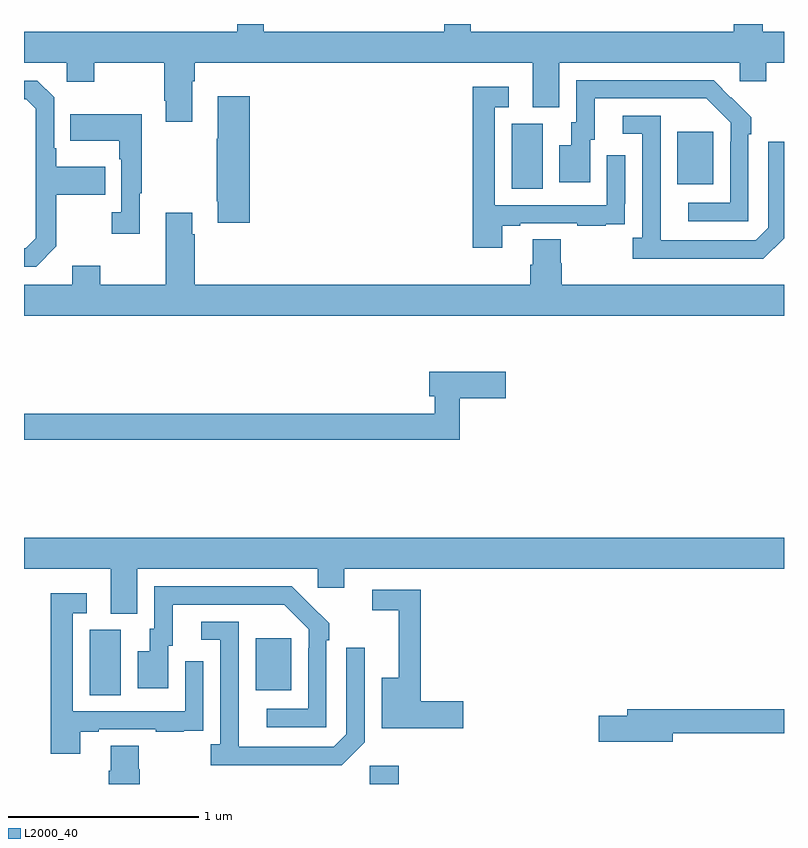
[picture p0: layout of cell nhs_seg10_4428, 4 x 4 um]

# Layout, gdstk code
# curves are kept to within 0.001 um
import gdstk
lib = gdstk.Library(unit=1e-6, precision=1e-09)
def R(c, l, rs):  # rectangles x0, y0, x1, y1
    for r in rs: c.add(gdstk.rectangle(r[:2], r[2:], *l))
def P(c, l, *ps):  # polygons
    for p in ps: c.add(gdstk.Polygon(p, *l))
L2000_40 = (2000, 40)

nhs_seg10_4428 = lib.new_cell('nhs_seg10_4428')
R(nhs_seg10_4428, L2000_40, [(362.82,1316.5,362.972,1316.596), (361.346,1316.968,361.51,1317.312), (362.219,1316.993,362.407,1317.268), (363.566,1319.632,363.73,1319.976), (364.439,1319.657,364.627,1319.932)])
P(nhs_seg10_4428, L2000_40, [(361.885,1320.2),(361.898,1320.2),(361.898,1320.296),(363.677,1320.296),(363.677,1320.061),(363.817,1320.061),(363.817,1320.296),(364.767,1320.296),(364.767,1320.198),(364.906,1320.198),(364.906,1320.296),(365,1320.296),(365,1320.46),(364.888,1320.46),(364.888,1320.5),(364.736,1320.5),(364.736,1320.46),(363.352,1320.46),(363.352,1320.5),(363.213,1320.5),(363.213,1320.46),(362.263,1320.46),(362.263,1320.5),(362.123,1320.5),(362.123,1320.46),(361,1320.46),(361,1320.296),(361.224,1320.296),(361.224,1320.197),(361.371,1320.197),(361.371,1320.296),(361.738,1320.296),(361.738,1320.097),(361.745,1320.097),(361.745,1319.985),(361.885,1319.985)],
  [(364.812,1319.921),(364.827,1319.921),(364.827,1320.009),(364.63,1320.204),(363.906,1320.204),(363.906,1319.982),(363.881,1319.982),(363.881,1319.863),(363.818,1319.863),(363.818,1319.667),(363.979,1319.667),(363.979,1319.892),(364.003,1319.892),(364.003,1320.108),(364.591,1320.108),(364.719,1319.979),(364.719,1319.879),(364.716,1319.879),(364.716,1319.559),(364.497,1319.559),(364.497,1319.463),(364.812,1319.463)],
  [(361.171,1319.329),(361.171,1319.602),(361.427,1319.602),(361.427,1319.749),(361.171,1319.749),(361.171,1319.845),(361.158,1319.845),(361.158,1320.114),(361.071,1320.201),(361,1320.201),(361,1320.105),(361.011,1320.105),(361.062,1320.054),(361.062,1319.373),(361.008,1319.319),(361,1319.319),(361,1319.223),(361.065,1319.223)],
  [(363.517,1319.439),(363.613,1319.439),(363.613,1319.451),(363.913,1319.451),(363.913,1319.439),(364.061,1319.439),(364.061,1319.445),(364.163,1319.445),(364.163,1319.554),(364.164,1319.554),(364.164,1319.809),(364.068,1319.809),(364.068,1319.547),(363.477,1319.547),(363.477,1320.063),(363.55,1320.063),(363.55,1320.169),(363.361,1320.169),(363.361,1319.322),(363.517,1319.322)],
  [(362.189,1320.121),(362.021,1320.121),(362.021,1319.897),(362.014,1319.897),(362.014,1319.566),(362.021,1319.566),(362.021,1319.454),(362.189,1319.454)],
  [(361.609,1319.609),(361.621,1319.609),(361.621,1320.025),(361.243,1320.025),(361.243,1319.885),(361.5,1319.885),(361.5,1319.789),(361.512,1319.789),(361.512,1319.51),(361.461,1319.51),(361.461,1319.397),(361.609,1319.397)],
  [(365,1319.372),(365,1319.881),(364.917,1319.881),(364.917,1319.427),(364.851,1319.361),(364.351,1319.361),(364.35,1320.018),(364.152,1320.018),(364.152,1319.922),(364.254,1319.922),(364.254,1319.374),(364.203,1319.374),(364.203,1319.264),(364.892,1319.264)],
  [(365,1319.128),(363.83,1319.128),(363.83,1319.241),(363.825,1319.241),(363.825,1319.366),(363.677,1319.366),(363.677,1319.234),(363.665,1319.234),(363.665,1319.128),(361.898,1319.128),(361.898,1319.393),(361.885,1319.393),(361.885,1319.506),(361.745,1319.506),(361.745,1319.128),(361.401,1319.128),(361.401,1319.227),(361.253,1319.227),(361.253,1319.128),(361,1319.128),(361,1318.964),(365,1318.964)],
  [(363.293,1318.529),(363.535,1318.529),(363.535,1318.671),(363.134,1318.671),(363.134,1318.541),(363.161,1318.541),(363.161,1318.448),(361,1318.448),(361,1318.312),(363.293,1318.312)],
  [(361.597,1317.632),(362.547,1317.632),(362.547,1317.534),(362.686,1317.534),(362.686,1317.632),(365,1317.632),(365,1317.796),(361,1317.796),(361,1317.632),(361.457,1317.632),(361.457,1317.397),(361.597,1317.397)],
  [(362.592,1317.257),(362.607,1317.257),(362.607,1317.345),(362.41,1317.54),(361.686,1317.54),(361.686,1317.318),(361.661,1317.318),(361.661,1317.199),(361.598,1317.199),(361.598,1317.003),(361.759,1317.003),(361.759,1317.228),(361.783,1317.228),(361.783,1317.444),(362.371,1317.444),(362.499,1317.315),(362.499,1317.215),(362.496,1317.215),(362.496,1316.895),(362.277,1316.895),(362.277,1316.799),(362.592,1316.799)],
  [(363.313,1316.936),(363.089,1316.936),(363.089,1317.522),(362.832,1317.522),(362.832,1317.414),(362.972,1317.414),(362.972,1317.058),(362.882,1317.058),(362.882,1316.794),(363.313,1316.794)],
  [(361.297,1316.775),(361.393,1316.775),(361.393,1316.787),(361.693,1316.787),(361.693,1316.775),(361.841,1316.775),(361.841,1316.781),(361.943,1316.781),(361.943,1316.89),(361.944,1316.89),(361.944,1317.145),(361.848,1317.145),(361.848,1316.883),(361.257,1316.883),(361.257,1317.399),(361.33,1317.399),(361.33,1317.505),(361.141,1317.505),(361.141,1316.658),(361.297,1316.658)],
  [(362.793,1316.721),(362.793,1317.217),(362.697,1317.217),(362.697,1316.763),(362.631,1316.697),(362.131,1316.697),(362.13,1317.354),(361.932,1317.354),(361.932,1317.258),(362.034,1317.258),(362.034,1316.71),(361.983,1316.71),(361.983,1316.6),(362.672,1316.6)],
  [(364.414,1316.766),(365,1316.766),(365,1316.894),(364.175,1316.894),(364.175,1316.858),(364.026,1316.858),(364.026,1316.723),(364.414,1316.723)],
  [(361.61,1316.577),(361.605,1316.577),(361.605,1316.702),(361.457,1316.702),(361.457,1316.57),(361.445,1316.57),(361.445,1316.5),(361.61,1316.5)])

lib.write_gds('nhs_seg10_4428.gds')
